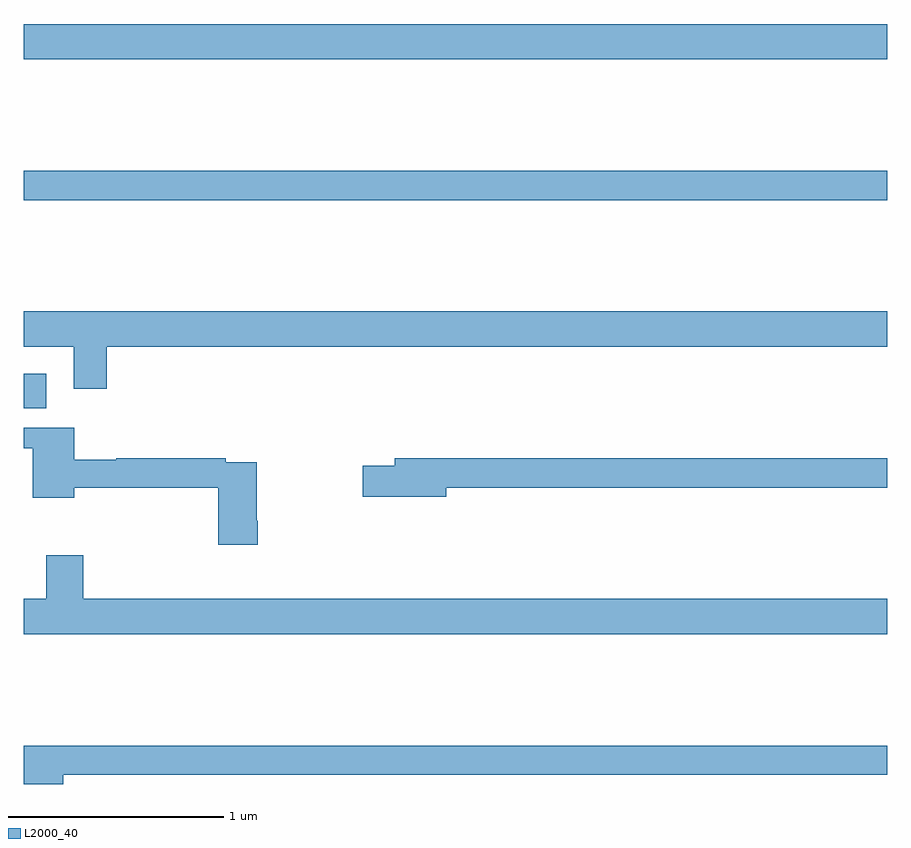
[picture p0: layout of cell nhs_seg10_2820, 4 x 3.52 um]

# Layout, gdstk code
import gdstk
lib = gdstk.Library(unit=1e-6, precision=1e-09)
def R(c, l, rs):  # rectangles x0, y0, x1, y1
    for r in rs: c.add(gdstk.rectangle(r[:2], r[2:], *l))
def P(c, l, *ps):  # polygons
    for p in ps: c.add(gdstk.Polygon(p, *l))
L2000_40 = (2000, 40)

nhs_seg10_2820 = lib.new_cell('nhs_seg10_2820')
R(nhs_seg10_2820, L2000_40, [(263,1318.68,263.104,1318.84), (263,1319.644,267,1319.78), (263,1320.296,267,1320.46)])
P(nhs_seg10_2820, L2000_40, [(263.384,1318.964),(267,1318.964),(267,1319.128),(263,1319.128),(263,1318.964),(263.231,1318.964),(263.231,1318.77),(263.384,1318.77)],
  [(264.083,1318.159),(264.078,1318.159),(264.078,1318.428),(263.936,1318.428),(263.936,1318.448),(263.429,1318.448),(263.429,1318.441),(263.233,1318.441),(263.233,1318.59),(263,1318.59),(263,1318.494),(263.042,1318.494),(263.042,1318.265),(263.233,1318.265),(263.233,1318.312),(263.9,1318.312),(263.9,1318.047),(264.083,1318.047)],
  [(264.958,1318.312),(267,1318.312),(267,1318.448),(264.719,1318.448),(264.719,1318.412),(264.57,1318.412),(264.57,1318.27),(264.958,1318.27)],
  [(267,1317.796),(263.276,1317.796),(263.276,1317.997),(263.104,1317.997),(263.104,1317.796),(263,1317.796),(263,1317.632),(267,1317.632)],
  [(263.182,1316.98),(267,1316.98),(267,1317.116),(263,1317.116),(263,1316.938),(263.182,1316.938)])

lib.write_gds('nhs_seg10_2820.gds')
